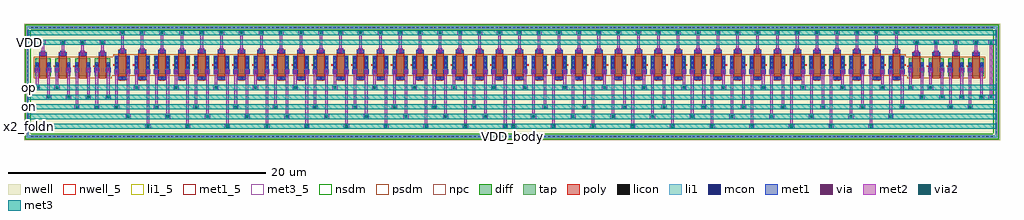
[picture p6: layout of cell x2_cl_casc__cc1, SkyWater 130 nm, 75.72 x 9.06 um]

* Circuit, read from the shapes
.subckt x2_cl_casc__cc1 VDD VDD_body bias_c on op x2_foldn x2_foldp
XM1 VDD VDD op VDD_body sky130_fd_pr__pfet_01v8 w=1.4 l=0.6 m=4
XM2 VDD VDD on VDD_body sky130_fd_pr__pfet_01v8 w=1.4 l=0.6 m=4
XM3 x2_foldp bias_c on VDD_body sky130_fd_pr__pfet_01v8 w=1.4 l=0.6 m=20
XM4 x2_foldn bias_c op VDD_body sky130_fd_pr__pfet_01v8 w=1.4 l=0.6 m=20
.ends

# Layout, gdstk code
from math import pi, radians
import gdstk
lib = gdstk.Library(unit=1e-6, precision=1e-09)
def R(c, l, rs):  # rectangles x0, y0, x1, y1
    for r in rs: c.add(gdstk.rectangle(r[:2], r[2:], *l))
def A(c, l, x, y, w, h, nx, ny, dx, dy):  # array of equal rectangles
    R(c, l, [(x+i*dx, y+j*dy, x+i*dx+w, y+j*dy+h) for i in range(nx) for j in range(ny)])
nwell_5 = (64, 5)
nwell = (64, 20)
diff = (65, 20)
tap = (65, 44)
poly = (66, 20)
licon = (66, 44)
li1_5 = (67, 5)
li1 = (67, 20)
mcon = (67, 44)
met1_5 = (68, 5)
met1 = (68, 20)
via = (68, 44)
met2 = (69, 20)
via2 = (69, 44)
met3_5 = (70, 5)
met3 = (70, 20)
nsdm = (93, 44)
psdm = (94, 20)
npc = (95, 20)

sky130_fd_pr__pfet_01v8_ = lib.new_cell('sky130_fd_pr__pfet_01v8_FGX5XW')
R(sky130_fd_pr__pfet_01v8_, nwell, [(-0.77,-1.19,0.77,1.02)])
R(sky130_fd_pr__pfet_01v8_, diff, [(-0.59,-0.88,0.59,0.52)])
R(sky130_fd_pr__pfet_01v8_, poly, [(-0.3,-1.01,0.3,1.005)])
R(sky130_fd_pr__pfet_01v8_, licon, [(-0.53,-0.435,-0.36,-0.265), (0.36,-0.435,0.53,-0.265), (-0.53,-0.095,-0.36,0.075), (0.36,-0.095,0.53,0.075), (-0.085,0.755,0.085,0.925)])
R(sky130_fd_pr__pfet_01v8_, li1, [(-0.53,-0.58,-0.36,0.22), (0.36,-0.58,0.53,0.22), (-0.3,0.755,0.3,0.925)])
R(sky130_fd_pr__pfet_01v8_, mcon, [(-0.53,-0.445,-0.36,-0.275), (0.36,-0.445,0.53,-0.275), (-0.53,-0.085,-0.36,0.085), (0.36,-0.085,0.53,0.085), (-0.085,0.755,0.085,0.925)])
R(sky130_fd_pr__pfet_01v8_, met1, [(-0.56,-0.56,-0.33,0.2), (0.33,-0.56,0.56,0.2), (-0.28,0.725,0.28,0.955)])
R(sky130_fd_pr__pfet_01v8_, psdm, [(-0.715,-1.005,0.715,0.645)])
R(sky130_fd_pr__pfet_01v8_, npc, [(-0.185,0.655,0.185,1.025)])
sky130_fd_pr__pfet_01v8_.add(gdstk.Label('D', (-0.445,-0.18), layer=67, texttype=5))
sky130_fd_pr__pfet_01v8_.add(gdstk.Label('S', (0.445,-0.18), layer=67, texttype=5))
sky130_fd_pr__pfet_01v8_.add(gdstk.Label('G', (0,0.84), layer=67, texttype=5))

pfet_01v8_w1p4_l0p6_m4__ = lib.new_cell('pfet_01v8_W1p4_L0p6_m4__nf1_gtop_sdhalf_ng')
R(pfet_01v8_w1p4_l0p6_m4__, nwell_5, [(0.05,1.055,0.15,1.155)])
R(pfet_01v8_w1p4_l0p6_m4__, nwell, [(0.05,1.055,0.15,1.155)])
R(pfet_01v8_w1p4_l0p6_m4__, met1_5, [(0.21,1.01,0.44,1.21), (1.1,1.01,1.33,1.21), (0.49,1.915,1.05,2.145)])
R(pfet_01v8_w1p4_l0p6_m4__, met1, [(0.21,1.01,0.44,1.21), (1.1,1.01,1.33,1.21), (0.49,1.915,1.05,2.145)])
pfet_01v8_w1p4_l0p6_m4__.add(gdstk.Reference(sky130_fd_pr__pfet_01v8_, (0.77,1.19)))
pfet_01v8_w1p4_l0p6_m4__.add(gdstk.Label('D', (0.325,1.11), layer=68, texttype=5))
pfet_01v8_w1p4_l0p6_m4__.add(gdstk.Label('S', (1.215,1.11), layer=68, texttype=5))
pfet_01v8_w1p4_l0p6_m4__.add(gdstk.Label('G', (0.77,2.03), layer=68, texttype=5))
pfet_01v8_w1p4_l0p6_m4__.add(gdstk.Label('B', (0.1,1.105), layer=64, texttype=5))

c_sky130_fd_pr__pfet_01v8_ = lib.new_cell('sky130_fd_pr__pfet_01v8_RGDEC8')
R(c_sky130_fd_pr__pfet_01v8_, nwell, [(-0.77,-1.2,0.77,1.2)])
R(c_sky130_fd_pr__pfet_01v8_, diff, [(-0.59,-0.7,0.59,0.7)])
R(c_sky130_fd_pr__pfet_01v8_, poly, [(-0.3,-1.185,0.3,1.185)])
A(c_sky130_fd_pr__pfet_01v8_, licon, -0.53, -0.595, 0.17, 0.17, 1, 4, 0, 0.34)
A(c_sky130_fd_pr__pfet_01v8_, licon, 0.36, -0.595, 0.17, 0.17, 1, 4, 0, 0.34)
R(c_sky130_fd_pr__pfet_01v8_, licon, [(-0.085,-1.105,0.085,-0.935), (-0.085,0.935,0.085,1.105)])
R(c_sky130_fd_pr__pfet_01v8_, li1, [(-0.3,-1.105,0.3,-0.935), (-0.53,-0.72,-0.36,0.72), (0.36,-0.72,0.53,0.72), (-0.3,0.935,0.3,1.105)])
A(c_sky130_fd_pr__pfet_01v8_, mcon, -0.53, -0.625, 0.17, 0.17, 1, 4, 0, 0.36)
A(c_sky130_fd_pr__pfet_01v8_, mcon, 0.36, -0.625, 0.17, 0.17, 1, 4, 0, 0.36)
R(c_sky130_fd_pr__pfet_01v8_, mcon, [(-0.085,-1.105,0.085,-0.935), (-0.085,0.935,0.085,1.105)])
R(c_sky130_fd_pr__pfet_01v8_, met1, [(-0.28,-1.135,0.28,-0.905), (-0.56,-0.7,-0.33,0.7), (0.33,-0.7,0.56,0.7), (-0.28,0.905,0.28,1.135)])
R(c_sky130_fd_pr__pfet_01v8_, psdm, [(-0.715,-0.825,0.715,0.825)])
R(c_sky130_fd_pr__pfet_01v8_, npc, [(-0.185,-1.205,0.185,-0.835), (-0.185,0.835,0.185,1.205)])
c_sky130_fd_pr__pfet_01v8_.add(gdstk.Label('D', (-0.445,0), layer=67, texttype=5))
c_sky130_fd_pr__pfet_01v8_.add(gdstk.Label('S', (0.445,0), layer=67, texttype=5))
c_sky130_fd_pr__pfet_01v8_.add(gdstk.Label('G', (0,1.02), layer=67, texttype=5))

pfet_01v8_w1p4_l0p6_m20_ = lib.new_cell('pfet_01v8_W1p4_L0p6_m20__nf1_gboth_sdfull_ng')
R(pfet_01v8_w1p4_l0p6_m20_, nwell_5, [(0.05,1.15,0.15,1.25)])
R(pfet_01v8_w1p4_l0p6_m20_, nwell, [(0.05,1.15,0.15,1.25)])
R(pfet_01v8_w1p4_l0p6_m20_, met1_5, [(0.21,1.2,0.44,1.4), (1.1,1.2,1.33,1.4), (0.49,2.105,1.05,2.335)])
R(pfet_01v8_w1p4_l0p6_m20_, met1, [(0.21,1.2,0.44,1.4), (1.1,1.2,1.33,1.4), (0.49,2.105,1.05,2.335)])
pfet_01v8_w1p4_l0p6_m20_.add(gdstk.Reference(c_sky130_fd_pr__pfet_01v8_, (0.77,1.2)))
pfet_01v8_w1p4_l0p6_m20_.add(gdstk.Label('D', (0.325,1.3), layer=68, texttype=5))
pfet_01v8_w1p4_l0p6_m20_.add(gdstk.Label('S', (1.215,1.3), layer=68, texttype=5))
pfet_01v8_w1p4_l0p6_m20_.add(gdstk.Label('G', (0.77,2.22), layer=68, texttype=5))
pfet_01v8_w1p4_l0p6_m20_.add(gdstk.Label('B', (0.1,1.2), layer=64, texttype=5))

x2_cl_casc__cc1 = lib.new_cell('x2_cl_casc__cc1')
R(x2_cl_casc__cc1, nwell, [(-0.7,-4.65,75.02,4.41)])
R(x2_cl_casc__cc1, tap, [(-0.485,-4.435,74.805,-4.265), (-0.485,-4.265,-0.315,4.025), (74.635,-4.265,74.805,4.025), (-0.485,4.025,74.805,4.195)])
A(x2_cl_casc__cc1, licon, -0.155, -4.435, 0.17, 0.17, 220, 2, 0.34, 8.46)
A(x2_cl_casc__cc1, licon, -0.485, -4.115, 0.17, 0.17, 1, 24, 0, 0.34)
A(x2_cl_casc__cc1, licon, 74.635, -4.115, 0.17, 0.17, 1, 24, 0, 0.34)
R(x2_cl_casc__cc1, li1_5, [(37.11,-4.4,37.21,-4.3)])
R(x2_cl_casc__cc1, li1, [(-0.485,-4.435,74.805,-4.265), (-0.485,-4.265,-0.315,4.025), (74.635,-4.265,74.805,4.025), (-0.485,4.025,74.805,4.195)])
A(x2_cl_casc__cc1, met1, 0.59, 1.945, 0.36, 0.36, 4, 1, 1.54, 0)
A(x2_cl_casc__cc1, met1, 68.35, 1.945, 0.36, 0.36, 4, 1, 1.54, 0)
A(x2_cl_casc__cc1, met1, 6.75, 2.14, 0.36, 0.36, 40, 1, 1.54, 0)
R(x2_cl_casc__cc1, met1, [(6.305,0.505,6.665,0.865), (7.195,0.505,7.555,0.865), (7.845,0.505,8.205,0.865), (8.735,0.505,9.095,0.865), (9.385,0.505,9.745,0.865), (10.275,0.505,10.635,0.865), (10.925,0.505,11.285,0.865), (11.815,0.505,12.175,0.865), (12.465,0.505,12.825,0.865), (13.355,0.505,13.715,0.865), (14.005,0.505,14.365,0.865), (14.895,0.505,15.255,0.865), (15.545,0.505,15.905,0.865), (16.435,0.505,16.795,0.865), (17.085,0.505,17.445,0.865), (17.975,0.505,18.335,0.865), (18.625,0.505,18.985,0.865), (19.515,0.505,19.875,0.865), (20.165,0.505,20.525,0.865), (21.055,0.505,21.415,0.865), (21.705,0.505,22.065,0.865), (22.595,0.505,22.955,0.865), (23.245,0.505,23.605,0.865), (24.135,0.505,24.495,0.865), (24.785,0.505,25.145,0.865), (25.675,0.505,26.035,0.865), (26.325,0.505,26.685,0.865), (27.215,0.505,27.575,0.865), (27.865,0.505,28.225,0.865), (28.755,0.505,29.115,0.865), (29.405,0.505,29.765,0.865), (30.295,0.505,30.655,0.865), (30.945,0.505,31.305,0.865), (31.835,0.505,32.195,0.865), (32.485,0.505,32.845,0.865), (33.375,0.505,33.735,0.865), (34.025,0.505,34.385,0.865), (34.915,0.505,35.275,0.865), (35.565,0.505,35.925,0.865), (36.455,0.505,36.815,0.865), (37.105,0.505,37.465,0.865), (37.995,0.505,38.355,0.865), (38.645,0.505,39.005,0.865), (39.535,0.505,39.895,0.865), (40.185,0.505,40.545,0.865), (41.075,0.505,41.435,0.865), (41.725,0.505,42.085,0.865), (42.615,0.505,42.975,0.865), (43.265,0.505,43.625,0.865), (44.155,0.505,44.515,0.865), (44.805,0.505,45.165,0.865), (45.695,0.505,46.055,0.865), (46.345,0.505,46.705,0.865), (47.235,0.505,47.595,0.865), (47.885,0.505,48.245,0.865), (48.775,0.505,49.135,0.865), (49.425,0.505,49.785,0.865), (50.315,0.505,50.675,0.865), (50.965,0.505,51.325,0.865), (51.855,0.505,52.215,0.865), (52.505,0.505,52.865,0.865), (53.395,0.505,53.755,0.865), (54.045,0.505,54.405,0.865), (54.935,0.505,55.295,0.865), (55.585,0.505,55.945,0.865), (56.475,0.505,56.835,0.865), (57.125,0.505,57.485,0.865), (58.015,0.505,58.375,0.865), (58.665,0.505,59.025,0.865), (59.555,0.505,59.915,0.865), (60.205,0.505,60.565,0.865), (61.095,0.505,61.455,0.865), (61.745,0.505,62.105,0.865), (62.635,0.505,62.995,0.865), (63.285,0.505,63.645,0.865), (64.175,0.505,64.535,0.865), (64.825,0.505,65.185,0.865), (65.715,0.505,66.075,0.865), (66.365,0.505,66.725,0.865), (67.255,0.505,67.615,0.865), (0.145,0.63,0.505,0.99), (1.035,0.63,1.395,0.99), (1.685,0.63,2.045,0.99), (2.575,0.63,2.935,0.99), (3.225,0.63,3.585,0.99), (4.115,0.63,4.475,0.99), (4.765,0.63,5.125,0.99), (5.655,0.63,6.015,0.99), (67.905,0.63,68.265,0.99), (68.795,0.63,69.155,0.99), (69.445,0.63,69.805,0.99), (70.335,0.63,70.695,0.99), (70.985,0.63,71.345,0.99), (71.875,0.63,72.235,0.99), (72.525,0.63,72.885,0.99), (73.415,0.63,73.775,0.99)])
A(x2_cl_casc__cc1, via, 0.695, 2.05, 0.15, 0.15, 4, 1, 1.54, 0)
A(x2_cl_casc__cc1, via, 68.455, 2.05, 0.15, 0.15, 4, 1, 1.54, 0)
A(x2_cl_casc__cc1, via, 6.855, 2.245, 0.15, 0.15, 40, 1, 1.54, 0)
R(x2_cl_casc__cc1, via, [(6.41,0.61,6.56,0.76), (7.3,0.61,7.45,0.76), (7.95,0.61,8.1,0.76), (8.84,0.61,8.99,0.76), (9.49,0.61,9.64,0.76), (10.38,0.61,10.53,0.76), (11.03,0.61,11.18,0.76), (11.92,0.61,12.07,0.76), (12.57,0.61,12.72,0.76), (13.46,0.61,13.61,0.76), (14.11,0.61,14.26,0.76), (15,0.61,15.15,0.76), (15.65,0.61,15.8,0.76), (16.54,0.61,16.69,0.76), (17.19,0.61,17.34,0.76), (18.08,0.61,18.23,0.76), (18.73,0.61,18.88,0.76), (19.62,0.61,19.77,0.76), (20.27,0.61,20.42,0.76), (21.16,0.61,21.31,0.76), (21.81,0.61,21.96,0.76), (22.7,0.61,22.85,0.76), (23.35,0.61,23.5,0.76), (24.24,0.61,24.39,0.76), (24.89,0.61,25.04,0.76), (25.78,0.61,25.93,0.76), (26.43,0.61,26.58,0.76), (27.32,0.61,27.47,0.76), (27.97,0.61,28.12,0.76), (28.86,0.61,29.01,0.76), (29.51,0.61,29.66,0.76), (30.4,0.61,30.55,0.76), (31.05,0.61,31.2,0.76), (31.94,0.61,32.09,0.76), (32.59,0.61,32.74,0.76), (33.48,0.61,33.63,0.76), (34.13,0.61,34.28,0.76), (35.02,0.61,35.17,0.76), (35.67,0.61,35.82,0.76), (36.56,0.61,36.71,0.76), (37.21,0.61,37.36,0.76), (38.1,0.61,38.25,0.76), (38.75,0.61,38.9,0.76), (39.64,0.61,39.79,0.76), (40.29,0.61,40.44,0.76), (41.18,0.61,41.33,0.76), (41.83,0.61,41.98,0.76), (42.72,0.61,42.87,0.76), (43.37,0.61,43.52,0.76), (44.26,0.61,44.41,0.76), (44.91,0.61,45.06,0.76), (45.8,0.61,45.95,0.76), (46.45,0.61,46.6,0.76), (47.34,0.61,47.49,0.76), (47.99,0.61,48.14,0.76), (48.88,0.61,49.03,0.76), (49.53,0.61,49.68,0.76), (50.42,0.61,50.57,0.76), (51.07,0.61,51.22,0.76), (51.96,0.61,52.11,0.76), (52.61,0.61,52.76,0.76), (53.5,0.61,53.65,0.76), (54.15,0.61,54.3,0.76), (55.04,0.61,55.19,0.76), (55.69,0.61,55.84,0.76), (56.58,0.61,56.73,0.76), (57.23,0.61,57.38,0.76), (58.12,0.61,58.27,0.76), (58.77,0.61,58.92,0.76), (59.66,0.61,59.81,0.76), (60.31,0.61,60.46,0.76), (61.2,0.61,61.35,0.76), (61.85,0.61,62,0.76), (62.74,0.61,62.89,0.76), (63.39,0.61,63.54,0.76), (64.28,0.61,64.43,0.76), (64.93,0.61,65.08,0.76), (65.82,0.61,65.97,0.76), (66.47,0.61,66.62,0.76), (67.36,0.61,67.51,0.76), (0.25,0.735,0.4,0.885), (1.14,0.735,1.29,0.885), (1.79,0.735,1.94,0.885), (2.68,0.735,2.83,0.885), (3.33,0.735,3.48,0.885), (4.22,0.735,4.37,0.885), (4.87,0.735,5.02,0.885), (5.76,0.735,5.91,0.885), (68.01,0.735,68.16,0.885), (68.9,0.735,69.05,0.885), (69.55,0.735,69.7,0.885), (70.44,0.735,70.59,0.885), (71.09,0.735,71.24,0.885), (71.98,0.735,72.13,0.885), (72.63,0.735,72.78,0.885), (73.52,0.735,73.67,0.885)])
A(x2_cl_casc__cc1, met2, 8.715, -3.75, 0.4, 0.4, 10, 1, 3.08, 0)
A(x2_cl_casc__cc1, met2, 37.085, -3.75, 0.4, 0.4, 10, 1, 3.08, 0)
A(x2_cl_casc__cc1, met2, 8.815, -3.35, 0.2, 3.875, 10, 1, 3.08, 0)
A(x2_cl_casc__cc1, met2, 37.185, -3.35, 0.2, 3.875, 10, 1, 3.08, 0)
A(x2_cl_casc__cc1, met2, 7.175, -3, 0.4, 0.4, 10, 1, 3.08, 0)
A(x2_cl_casc__cc1, met2, 38.625, -3, 0.4, 0.4, 10, 1, 3.08, 0)
A(x2_cl_casc__cc1, met2, 7.275, -2.6, 0.2, 3.125, 10, 1, 3.08, 0)
A(x2_cl_casc__cc1, met2, 38.725, -2.6, 0.2, 3.125, 10, 1, 3.08, 0)
A(x2_cl_casc__cc1, met2, 3.205, -2.25, 0.4, 0.4, 3, 1, 1.54, 0)
A(x2_cl_casc__cc1, met2, 9.365, -2.25, 0.4, 0.4, 9, 1, 3.08, 0)
A(x2_cl_casc__cc1, met2, 39.515, -2.25, 0.4, 0.4, 10, 1, 3.08, 0)
A(x2_cl_casc__cc1, met2, 6.385, -1.85, 0.2, 2.375, 10, 1, 3.08, 0)
A(x2_cl_casc__cc1, met2, 39.615, -1.85, 0.2, 2.375, 10, 1, 3.08, 0)
A(x2_cl_casc__cc1, met2, 1.015, -1.5, 0.4, 0.4, 4, 1, 1.54, 0)
A(x2_cl_casc__cc1, met2, 68.775, -1.5, 0.4, 0.4, 4, 1, 1.54, 0)
A(x2_cl_casc__cc1, met2, 1.115, -1.1, 0.2, 1.75, 4, 1, 1.54, 0)
A(x2_cl_casc__cc1, met2, 68.875, -1.1, 0.2, 1.75, 4, 1, 1.54, 0)
A(x2_cl_casc__cc1, met2, 7.825, -0.75, 0.4, 0.4, 10, 1, 3.08, 0)
A(x2_cl_casc__cc1, met2, 37.975, -0.75, 0.4, 0.4, 10, 1, 3.08, 0)
A(x2_cl_casc__cc1, met2, 7.925, -0.35, 0.2, 0.875, 10, 1, 3.08, 0)
A(x2_cl_casc__cc1, met2, 38.075, -0.35, 0.2, 0.875, 10, 1, 3.08, 0)
A(x2_cl_casc__cc1, met2, 0.64, 1.965, 0.26, 0.32, 4, 1, 1.54, 0)
A(x2_cl_casc__cc1, met2, 68.4, 1.965, 0.26, 0.32, 4, 1, 1.54, 0)
A(x2_cl_casc__cc1, met2, 6.8, 2.16, 0.26, 0.32, 40, 1, 1.54, 0)
A(x2_cl_casc__cc1, met2, 0.67, 2.285, 0.2, 0.475, 4, 1, 1.54, 0)
A(x2_cl_casc__cc1, met2, 68.43, 2.285, 0.2, 0.475, 4, 1, 1.54, 0)
A(x2_cl_casc__cc1, met2, 6.83, 2.48, 0.2, 1.03, 40, 1, 1.54, 0)
A(x2_cl_casc__cc1, met2, 0.57, 2.76, 0.4, 0.4, 4, 1, 1.54, 0)
A(x2_cl_casc__cc1, met2, 68.33, 2.76, 0.4, 0.4, 4, 1, 1.54, 0)
A(x2_cl_casc__cc1, met2, 6.73, 3.51, 0.4, 0.4, 40, 1, 1.54, 0)
R(x2_cl_casc__cc1, met2, [(70.965,-2.25,71.365,-1.85), (72.505,-2.25,72.905,-1.85), (3.305,-1.85,3.505,0.65), (4.845,-1.85,5.045,0.65), (71.065,-1.85,71.265,0.65), (72.605,-1.85,72.805,0.65), (74.12,-1.5,74.52,-1.1), (74.22,-1.1,74.42,2.76), (0.125,-0.75,0.525,-0.35), (1.665,-0.75,2.065,-0.35), (67.885,-0.75,68.285,-0.35), (69.425,-0.75,69.825,-0.35), (0.225,-0.35,0.425,0.65), (1.765,-0.35,1.965,0.65), (67.985,-0.35,68.185,0.65), (69.525,-0.35,69.725,0.65), (6.355,0.525,6.615,0.845), (7.245,0.525,7.505,0.845), (7.895,0.525,8.155,0.845), (8.785,0.525,9.045,0.845), (9.435,0.525,9.695,0.845), (10.325,0.525,10.585,0.845), (10.975,0.525,11.235,0.845), (11.865,0.525,12.125,0.845), (12.515,0.525,12.775,0.845), (13.405,0.525,13.665,0.845), (14.055,0.525,14.315,0.845), (14.945,0.525,15.205,0.845), (15.595,0.525,15.855,0.845), (16.485,0.525,16.745,0.845), (17.135,0.525,17.395,0.845), (18.025,0.525,18.285,0.845), (18.675,0.525,18.935,0.845), (19.565,0.525,19.825,0.845), (20.215,0.525,20.475,0.845), (21.105,0.525,21.365,0.845), (21.755,0.525,22.015,0.845), (22.645,0.525,22.905,0.845), (23.295,0.525,23.555,0.845), (24.185,0.525,24.445,0.845), (24.835,0.525,25.095,0.845), (25.725,0.525,25.985,0.845), (26.375,0.525,26.635,0.845), (27.265,0.525,27.525,0.845), (27.915,0.525,28.175,0.845), (28.805,0.525,29.065,0.845), (29.455,0.525,29.715,0.845), (30.345,0.525,30.605,0.845), (30.995,0.525,31.255,0.845), (31.885,0.525,32.145,0.845), (32.535,0.525,32.795,0.845), (33.425,0.525,33.685,0.845), (34.075,0.525,34.335,0.845), (34.965,0.525,35.225,0.845), (35.615,0.525,35.875,0.845), (36.505,0.525,36.765,0.845), (37.155,0.525,37.415,0.845), (38.045,0.525,38.305,0.845), (38.695,0.525,38.955,0.845), (39.585,0.525,39.845,0.845), (40.235,0.525,40.495,0.845), (41.125,0.525,41.385,0.845), (41.775,0.525,42.035,0.845), (42.665,0.525,42.925,0.845), (43.315,0.525,43.575,0.845), (44.205,0.525,44.465,0.845), (44.855,0.525,45.115,0.845), (45.745,0.525,46.005,0.845), (46.395,0.525,46.655,0.845), (47.285,0.525,47.545,0.845), (47.935,0.525,48.195,0.845), (48.825,0.525,49.085,0.845), (49.475,0.525,49.735,0.845), (50.365,0.525,50.625,0.845), (51.015,0.525,51.275,0.845), (51.905,0.525,52.165,0.845), (52.555,0.525,52.815,0.845), (53.445,0.525,53.705,0.845), (54.095,0.525,54.355,0.845), (54.985,0.525,55.245,0.845), (55.635,0.525,55.895,0.845), (56.525,0.525,56.785,0.845), (57.175,0.525,57.435,0.845), (58.065,0.525,58.325,0.845), (58.715,0.525,58.975,0.845), (59.605,0.525,59.865,0.845), (60.255,0.525,60.515,0.845), (61.145,0.525,61.405,0.845), (61.795,0.525,62.055,0.845), (62.685,0.525,62.945,0.845), (63.335,0.525,63.595,0.845), (64.225,0.525,64.485,0.845), (64.875,0.525,65.135,0.845), (65.765,0.525,66.025,0.845), (66.415,0.525,66.675,0.845), (67.305,0.525,67.565,0.845), (0.195,0.65,0.455,0.97), (1.085,0.65,1.345,0.97), (1.735,0.65,1.995,0.97), (2.625,0.65,2.885,0.97), (3.275,0.65,3.535,0.97), (4.165,0.65,4.425,0.97), (4.815,0.65,5.075,0.97), (5.705,0.65,5.965,0.97), (67.955,0.65,68.215,0.97), (68.845,0.65,69.105,0.97), (69.495,0.65,69.755,0.97), (70.385,0.65,70.645,0.97), (71.035,0.65,71.295,0.97), (71.925,0.65,72.185,0.97), (72.575,0.65,72.835,0.97), (73.465,0.65,73.725,0.97), (74.12,2.76,74.52,3.16)])
A(x2_cl_casc__cc1, via2, 8.815, -3.65, 0.2, 0.2, 10, 1, 3.08, 0)
A(x2_cl_casc__cc1, via2, 37.185, -3.65, 0.2, 0.2, 10, 1, 3.08, 0)
A(x2_cl_casc__cc1, via2, 7.275, -2.9, 0.2, 0.2, 10, 1, 3.08, 0)
A(x2_cl_casc__cc1, via2, 38.725, -2.9, 0.2, 0.2, 10, 1, 3.08, 0)
A(x2_cl_casc__cc1, via2, 3.305, -2.15, 0.2, 0.2, 3, 1, 1.54, 0)
A(x2_cl_casc__cc1, via2, 9.465, -2.15, 0.2, 0.2, 9, 1, 3.08, 0)
A(x2_cl_casc__cc1, via2, 39.615, -2.15, 0.2, 0.2, 10, 1, 3.08, 0)
A(x2_cl_casc__cc1, via2, 1.115, -1.4, 0.2, 0.2, 4, 1, 1.54, 0)
A(x2_cl_casc__cc1, via2, 68.875, -1.4, 0.2, 0.2, 4, 1, 1.54, 0)
A(x2_cl_casc__cc1, via2, 7.925, -0.65, 0.2, 0.2, 10, 1, 3.08, 0)
A(x2_cl_casc__cc1, via2, 38.075, -0.65, 0.2, 0.2, 10, 1, 3.08, 0)
A(x2_cl_casc__cc1, via2, 0.67, 2.86, 0.2, 0.2, 4, 1, 1.54, 0)
A(x2_cl_casc__cc1, via2, 68.43, 2.86, 0.2, 0.2, 4, 1, 1.54, 0)
A(x2_cl_casc__cc1, via2, 6.83, 3.61, 0.2, 0.2, 40, 1, 1.54, 0)
R(x2_cl_casc__cc1, via2, [(71.065,-2.15,71.265,-1.95), (72.605,-2.15,72.805,-1.95), (74.22,-1.4,74.42,-1.2), (0.225,-0.65,0.425,-0.45), (1.765,-0.65,1.965,-0.45), (67.985,-0.65,68.185,-0.45), (69.525,-0.65,69.725,-0.45), (74.22,2.86,74.42,3.06)])
A(x2_cl_casc__cc1, met3_5, -0.3, -3.6, 0.1, 0.1, 1, 5, 0, 0.75)
R(x2_cl_casc__cc1, met3_5, [(-0.3,2.91,-0.2,3.01), (-0.3,3.66,-0.2,3.76)])
A(x2_cl_casc__cc1, met3, -0.4, -3.75, 75.12, 0.4, 1, 5, 0, 0.75)
R(x2_cl_casc__cc1, met3, [(-0.4,2.76,74.72,3.16), (-0.4,3.51,74.72,3.91)])
R(x2_cl_casc__cc1, nsdm, [(-0.61,-4.56,74.93,-4.14), (-0.61,-4.14,-0.19,3.9), (74.51,-4.14,74.93,3.9), (-0.61,3.9,74.93,4.32)])
A(x2_cl_casc__cc1, psdm, 1.485, 0.185, 0.11, 1.65, 3, 1, 1.54, 0)
A(x2_cl_casc__cc1, psdm, 69.245, 0.185, 0.11, 1.65, 3, 1, 1.54, 0)
A(x2_cl_casc__cc1, psdm, 7.645, 0.375, 0.11, 1.65, 39, 1, 1.54, 0)
R(x2_cl_casc__cc1, psdm, [(6.105,0.375,6.215,1.835), (67.705,0.375,67.815,1.835)])
x2_cl_casc__cc1.add(gdstk.Reference(pfet_01v8_w1p4_l0p6_m4__, (0,0)))
x2_cl_casc__cc1.add(gdstk.Reference(pfet_01v8_w1p4_l0p6_m4__, (1.54,0)))
x2_cl_casc__cc1.add(gdstk.Reference(pfet_01v8_w1p4_l0p6_m4__, (3.08,0)))
x2_cl_casc__cc1.add(gdstk.Reference(pfet_01v8_w1p4_l0p6_m4__, (4.62,0)))
x2_cl_casc__cc1.add(gdstk.Reference(pfet_01v8_w1p4_l0p6_m20_, (6.16,0)))
x2_cl_casc__cc1.add(gdstk.Reference(pfet_01v8_w1p4_l0p6_m20_, (7.7,0)))
x2_cl_casc__cc1.add(gdstk.Reference(pfet_01v8_w1p4_l0p6_m20_, (9.24,0)))
x2_cl_casc__cc1.add(gdstk.Reference(pfet_01v8_w1p4_l0p6_m20_, (10.78,0)))
x2_cl_casc__cc1.add(gdstk.Reference(pfet_01v8_w1p4_l0p6_m20_, (12.32,0)))
x2_cl_casc__cc1.add(gdstk.Reference(pfet_01v8_w1p4_l0p6_m20_, (13.86,0)))
x2_cl_casc__cc1.add(gdstk.Reference(pfet_01v8_w1p4_l0p6_m20_, (15.4,0)))
x2_cl_casc__cc1.add(gdstk.Reference(pfet_01v8_w1p4_l0p6_m20_, (16.94,0)))
x2_cl_casc__cc1.add(gdstk.Reference(pfet_01v8_w1p4_l0p6_m20_, (18.48,0)))
x2_cl_casc__cc1.add(gdstk.Reference(pfet_01v8_w1p4_l0p6_m20_, (20.02,0)))
x2_cl_casc__cc1.add(gdstk.Reference(pfet_01v8_w1p4_l0p6_m20_, (21.56,0)))
x2_cl_casc__cc1.add(gdstk.Reference(pfet_01v8_w1p4_l0p6_m20_, (23.1,0)))
x2_cl_casc__cc1.add(gdstk.Reference(pfet_01v8_w1p4_l0p6_m20_, (24.64,0)))
x2_cl_casc__cc1.add(gdstk.Reference(pfet_01v8_w1p4_l0p6_m20_, (26.18,0)))
x2_cl_casc__cc1.add(gdstk.Reference(pfet_01v8_w1p4_l0p6_m20_, (27.72,0)))
x2_cl_casc__cc1.add(gdstk.Reference(pfet_01v8_w1p4_l0p6_m20_, (29.26,0)))
x2_cl_casc__cc1.add(gdstk.Reference(pfet_01v8_w1p4_l0p6_m20_, (30.8,0)))
x2_cl_casc__cc1.add(gdstk.Reference(pfet_01v8_w1p4_l0p6_m20_, (32.34,0)))
x2_cl_casc__cc1.add(gdstk.Reference(pfet_01v8_w1p4_l0p6_m20_, (33.88,0)))
x2_cl_casc__cc1.add(gdstk.Reference(pfet_01v8_w1p4_l0p6_m20_, (35.42,0)))
x2_cl_casc__cc1.add(gdstk.Reference(pfet_01v8_w1p4_l0p6_m20_, (38.5,0), rotation=pi, x_reflection=True))
x2_cl_casc__cc1.add(gdstk.Reference(pfet_01v8_w1p4_l0p6_m20_, (40.04,0), rotation=pi, x_reflection=True))
x2_cl_casc__cc1.add(gdstk.Reference(pfet_01v8_w1p4_l0p6_m20_, (41.58,0), rotation=pi, x_reflection=True))
x2_cl_casc__cc1.add(gdstk.Reference(pfet_01v8_w1p4_l0p6_m20_, (43.12,0), rotation=pi, x_reflection=True))
x2_cl_casc__cc1.add(gdstk.Reference(pfet_01v8_w1p4_l0p6_m20_, (44.66,0), rotation=pi, x_reflection=True))
x2_cl_casc__cc1.add(gdstk.Reference(pfet_01v8_w1p4_l0p6_m20_, (46.2,0), rotation=pi, x_reflection=True))
x2_cl_casc__cc1.add(gdstk.Reference(pfet_01v8_w1p4_l0p6_m20_, (47.74,0), rotation=pi, x_reflection=True))
x2_cl_casc__cc1.add(gdstk.Reference(pfet_01v8_w1p4_l0p6_m20_, (49.28,0), rotation=pi, x_reflection=True))
x2_cl_casc__cc1.add(gdstk.Reference(pfet_01v8_w1p4_l0p6_m20_, (50.82,0), rotation=pi, x_reflection=True))
x2_cl_casc__cc1.add(gdstk.Reference(pfet_01v8_w1p4_l0p6_m20_, (52.36,0), rotation=pi, x_reflection=True))
x2_cl_casc__cc1.add(gdstk.Reference(pfet_01v8_w1p4_l0p6_m20_, (53.9,0), rotation=pi, x_reflection=True))
x2_cl_casc__cc1.add(gdstk.Reference(pfet_01v8_w1p4_l0p6_m20_, (55.44,0), rotation=pi, x_reflection=True))
x2_cl_casc__cc1.add(gdstk.Reference(pfet_01v8_w1p4_l0p6_m20_, (56.98,0), rotation=pi, x_reflection=True))
x2_cl_casc__cc1.add(gdstk.Reference(pfet_01v8_w1p4_l0p6_m20_, (58.52,0), rotation=pi, x_reflection=True))
x2_cl_casc__cc1.add(gdstk.Reference(pfet_01v8_w1p4_l0p6_m20_, (60.06,0), rotation=pi, x_reflection=True))
x2_cl_casc__cc1.add(gdstk.Reference(pfet_01v8_w1p4_l0p6_m20_, (61.6,0), rotation=pi, x_reflection=True))
x2_cl_casc__cc1.add(gdstk.Reference(pfet_01v8_w1p4_l0p6_m20_, (63.14,0), rotation=pi, x_reflection=True))
x2_cl_casc__cc1.add(gdstk.Reference(pfet_01v8_w1p4_l0p6_m20_, (64.68,0), rotation=pi, x_reflection=True))
x2_cl_casc__cc1.add(gdstk.Reference(pfet_01v8_w1p4_l0p6_m20_, (66.22,0), rotation=pi, x_reflection=True))
x2_cl_casc__cc1.add(gdstk.Reference(pfet_01v8_w1p4_l0p6_m20_, (67.76,0), rotation=pi, x_reflection=True))
x2_cl_casc__cc1.add(gdstk.Reference(pfet_01v8_w1p4_l0p6_m4__, (67.76,0)))
x2_cl_casc__cc1.add(gdstk.Reference(pfet_01v8_w1p4_l0p6_m4__, (69.3,0)))
x2_cl_casc__cc1.add(gdstk.Reference(pfet_01v8_w1p4_l0p6_m4__, (70.84,0)))
x2_cl_casc__cc1.add(gdstk.Reference(pfet_01v8_w1p4_l0p6_m4__, (72.38,0)))
x2_cl_casc__cc1.add(gdstk.Label('VDD', (-0.25,2.96), layer=70, texttype=5))
x2_cl_casc__cc1.add(gdstk.Label('bias_c', (-0.25,3.71), layer=70, texttype=5))
x2_cl_casc__cc1.add(gdstk.Label('op', (-0.25,-0.55), layer=70, texttype=5))
x2_cl_casc__cc1.add(gdstk.Label('VDD', (-0.25,-1.3), layer=70, texttype=5))
x2_cl_casc__cc1.add(gdstk.Label('on', (-0.25,-2.05), layer=70, texttype=5))
x2_cl_casc__cc1.add(gdstk.Label('x2_foldp', (-0.25,-2.8), layer=70, texttype=5))
x2_cl_casc__cc1.add(gdstk.Label('x2_foldn', (-0.25,-3.55), layer=70, texttype=5))
x2_cl_casc__cc1.add(gdstk.Label('VDD_body', (37.16,-4.35), layer=67, texttype=5))

lib.write_gds('x2_cl_casc__cc1.gds')
